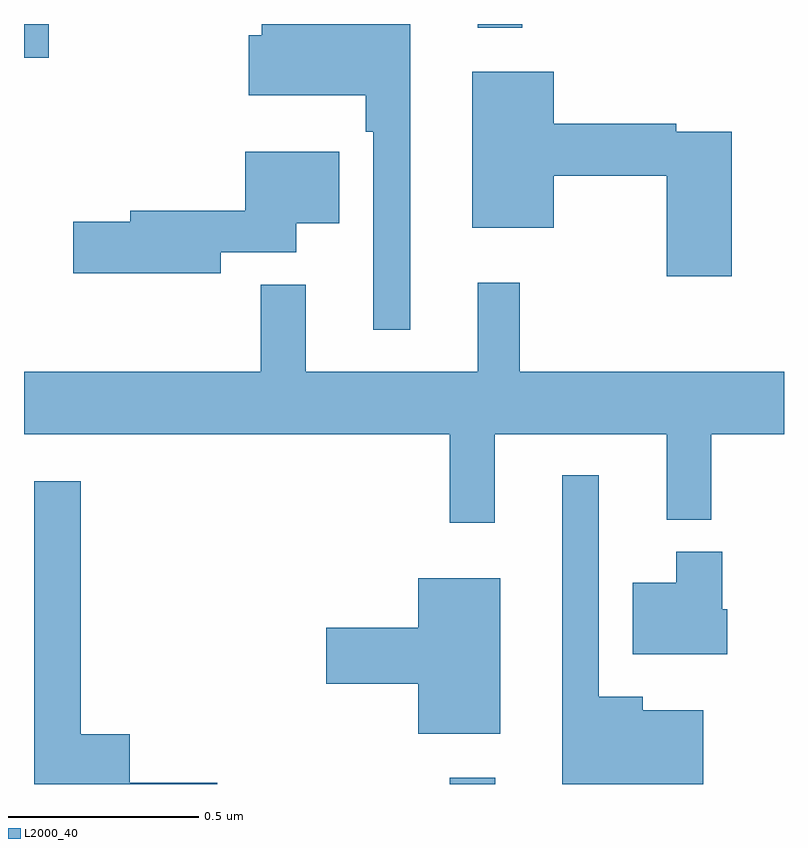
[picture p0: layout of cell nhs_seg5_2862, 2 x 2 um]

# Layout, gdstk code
import gdstk
lib = gdstk.Library(unit=1e-6, precision=1e-09)
def R(c, l, rs):  # rectangles x0, y0, x1, y1
    for r in rs: c.add(gdstk.rectangle(r[:2], r[2:], *l))
def P(c, l, *ps):  # polygons
    for p in ps: c.add(gdstk.Polygon(p, *l))
L2000_40 = (2000, 40)

nhs_seg5_2862 = lib.new_cell('nhs_seg5_2862')
R(nhs_seg5_2862, L2000_40, [(150.121,895.799,150.24,895.816), (149,897.71,149.065,897.799), (150.194,897.789,150.311,897.799)])
P(nhs_seg5_2862, L2000_40, [(150.016,897.799),(149.626,897.799),(149.626,897.769),(149.592,897.769),(149.592,897.611),(149.899,897.611),(149.899,897.515),(149.919,897.515),(149.919,896.994),(150.016,896.994)],
  [(150.863,897.516),(150.716,897.516),(150.716,897.536),(150.394,897.536),(150.394,897.673),(150.179,897.673),(150.179,897.263),(150.394,897.263),(150.394,897.4),(150.692,897.4),(150.692,897.135),(150.863,897.135)],
  [(149.518,897.198),(149.716,897.198),(149.716,897.275),(149.83,897.275),(149.83,897.463),(149.582,897.463),(149.582,897.307),(149.279,897.307),(149.279,897.278),(149.13,897.278),(149.13,897.143),(149.518,897.143)],
  [(150.194,896.884),(149.741,896.884),(149.741,897.113),(149.623,897.113),(149.623,896.884),(149,896.884),(149,896.72),(150.121,896.72),(150.121,896.487),(150.239,896.487),(150.239,896.72),(150.692,896.72),(150.692,896.495),(150.809,896.495),(150.809,896.72),(151,896.72),(151,896.884),(150.304,896.884),(150.304,897.118),(150.194,897.118)],
  [(150.787,895.993),(150.628,895.993),(150.628,896.029),(150.513,896.029),(150.513,896.611),(150.416,896.611),(150.416,895.799),(150.787,895.799)],
  [(149.509,895.802),(149.278,895.802),(149.278,895.93),(149.149,895.93),(149.149,896.596),(149.027,896.596),(149.027,895.799),(149.509,895.799)],
  [(150.85,896.259),(150.838,896.259),(150.838,896.41),(150.716,896.41),(150.716,896.329),(150.602,896.329),(150.602,896.141),(150.85,896.141)],
  [(150.253,896.341),(150.038,896.341),(150.038,896.21),(149.796,896.21),(149.796,896.063),(150.038,896.063),(150.038,895.931),(150.253,895.931)])

lib.write_gds('nhs_seg5_2862.gds')
